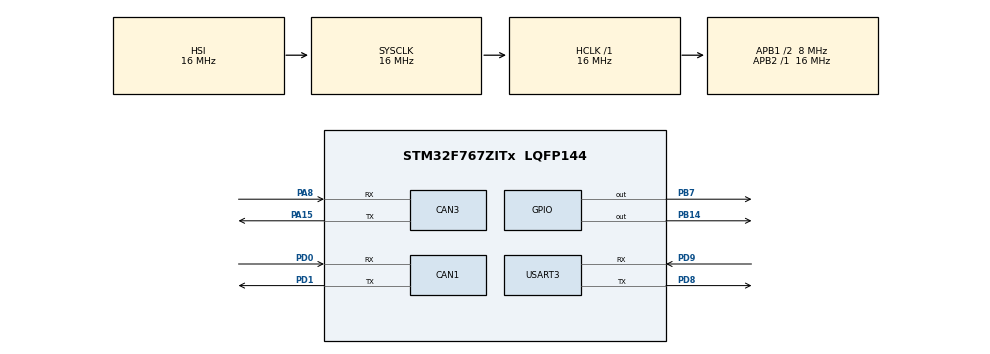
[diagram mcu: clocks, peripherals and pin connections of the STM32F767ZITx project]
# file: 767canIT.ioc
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CAN1.BS1=CAN_BS1_3TQ
CAN1.BS2=CAN_BS2_5TQ
CAN1.CalculateTimeBit=18000
CAN1.CalculateTimeQuantum=2000.0
CAN3.BS1=CAN_BS1_3TQ
CAN3.BS2=CAN_BS2_5TQ
CAN3.CalculateTimeBit=18000
CAN3.CalculateTimeQuantum=2000.0
Mcu.Family=STM32F7
Mcu.Name=STM32F767ZITx
Mcu.Package=LQFP144
NVIC.CAN1_RX0_IRQn=true\:0\:0\:false\:false\:true\:true
NVIC.CAN3_RX0_IRQn=true\:0\:0\:false\:false\:true\:true
NVIC.CAN3_RX1_IRQn=true\:0\:0\:false\:false\:true\:true
NVIC.PriorityGroup=NVIC_PRIORITYGROUP_4
PA15.Mode=Master
PA15.Signal=CAN3_TX
PA8.Mode=Master
PA8.Signal=CAN3_RX
PB14.Signal=GPIO_Output
PB7.Signal=GPIO_Output
PD0.Mode=Master
PD0.Signal=CAN1_RX
PD1.Mode=Master
PD1.Signal=CAN1_TX
PD8.Mode=Asynchronous
PD8.Signal=USART3_TX
PD9.Mode=Asynchronous
PD9.Signal=USART3_RX
ProjectManager.HeapSize=0x200
ProjectManager.StackSize=0x400
ProjectManager.TargetToolchain=SW4STM32
RCC.48MHZClocksFreq_Value=24000000
RCC.AHBFreq_Value=16000000
RCC.APB1CLKDivider=RCC_HCLK_DIV2
RCC.APB1Freq_Value=8000000
RCC.APB1TimFreq_Value=16000000
RCC.APB2Freq_Value=16000000
RCC.APB2TimFreq_Value=16000000
RCC.CortexFreq_Value=16000000
RCC.HCLKFreq_Value=16000000
RCC.HSE_VALUE=16000000
RCC.HSI_VALUE=16000000
RCC.LSE_VALUE=32768
RCC.PLLMUL=RCC_PLL_MUL9
RCC.PRESCALERUSB=RCC_USBCLKSOURCE_PLL_DIV1_5
RCC.SYSCLKFreq_VALUE=16000000
RCC.SYSCLKSourceVirtual=RCC_SYSCLKSOURCE_PLLCLK
RCC.USBFreq_Value=96000000
RCC.VCOOutputFreq_Value=192000000
USART3.VirtualMode-Asynchronous=VM_ASYNC
board=NUCLEO-F767ZI

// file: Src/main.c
/**
  ******************************************************************************
  * File Name          : main.c
  * Description        : Main program body
  ******************************************************************************
  ** This notice applies to any and all portions of this file
  * that are not between comment pairs USER CODE BEGIN and
  * USER CODE END. Other portions of this file, whether
  * inserted by the user or by software development tools
  * are owned by their respective copyright owners.
  *
  * COPYRIGHT(c) 2017 STMicroelectronics
  *
  * Redistribution and use in source and binary forms, with or without modification,
  * are permitted provided that the following conditions are met:
  *   1. Redistributions of source code must retain the above copyright notice,
  *      this list of conditions and the following disclaimer.
  *   2. Redistributions in binary form must reproduce the above copyright notice,
  *      this list of conditions and the following disclaimer in the documentation
  *      and/or other materials provided with the distribution.
  *   3. Neither the name of STMicroelectronics nor the names of its contributors
  *      may be used to endorse or promote products derived from this software
  *      without specific prior written permission.
  *
  * THIS SOFTWARE IS PROVIDED BY THE COPYRIGHT HOLDERS AND CONTRIBUTORS "AS IS"
  * AND ANY EXPRESS OR IMPLIED WARRANTIES, INCLUDING, BUT NOT LIMITED TO, THE
  * IMPLIED WARRANTIES OF MERCHANTABILITY AND FITNESS FOR A PARTICULAR PURPOSE ARE
  * DISCLAIMED. IN NO EVENT SHALL THE COPYRIGHT HOLDER OR CONTRIBUTORS BE LIABLE
  * FOR ANY DIRECT, INDIRECT, INCIDENTAL, SPECIAL, EXEMPLARY, OR CONSEQUENTIAL
  * DAMAGES (INCLUDING, BUT NOT LIMITED TO, PROCUREMENT OF SUBSTITUTE GOODS OR
  * SERVICES; LOSS OF USE, DATA, OR PROFITS; OR BUSINESS INTERRUPTION) HOWEVER
  * CAUSED AND ON ANY THEORY OF LIABILITY, WHETHER IN CONTRACT, STRICT LIABILITY,
  * OR TORT (INCLUDING NEGLIGENCE OR OTHERWISE) ARISING IN ANY WAY OUT OF THE USE
  * OF THIS SOFTWARE, EVEN IF ADVISED OF THE POSSIBILITY OF SUCH DAMAGE.
  *
  ******************************************************************************
  */

#include "main.h"
#include "stm32f7xx_hal.h"

CAN_HandleTypeDef hcan1;
CAN_HandleTypeDef hcan3;

UART_HandleTypeDef huart3;

/* USER CODE BEGIN PV */
/* Private variables ---------------------------------------------------------*/
unsigned char i,j,k,RxData,tab[60];
CanRxMsgTypeDef            RxMCan1;
CanRxMsgTypeDef            RxMCan3;
CanTxMsgTypeDef            TxMCan1;
CanTxMsgTypeDef            TxMCan3;

/* USER CODE END PV */

void SystemClock_Config(void);
static void MX_GPIO_Init(void);
static void MX_CAN1_Init(void);
static void MX_CAN3_Init(void);
static void MX_USART3_UART_Init(void);

/* USER CODE BEGIN PFP */
/* Private function prototypes -----------------------------------------------*/

/* USER CODE END PFP */

int main(void)
{

  /* MCU Configuration----------------------------------------------------------*/

  /* Reset of all peripherals, Initializes the Flash interface and the Systick. */
  HAL_Init();

  /* Configure the system clock */
  SystemClock_Config();

  /* Initialize all configured peripherals */
  MX_GPIO_Init();
  MX_CAN1_Init();
  MX_CAN3_Init();
  MX_USART3_UART_Init();

  /* USER CODE BEGIN 2 */

  CAN_FilterConfTypeDef  sFilterConfig;

  // Configure the CAN Filter ###########################################
  sFilterConfig.FilterNumber = 0;
  sFilterConfig.FilterMode = CAN_FILTERMODE_IDMASK;
  sFilterConfig.FilterScale = CAN_FILTERSCALE_32BIT;
  sFilterConfig.FilterIdHigh = 0x0000;
  sFilterConfig.FilterIdLow = 0x0000;
  sFilterConfig.FilterMaskIdHigh = 0x0000;
  sFilterConfig.FilterMaskIdLow = 0x0000;
  sFilterConfig.FilterFIFOAssignment = 0;
  sFilterConfig.FilterActivation = ENABLE;
  sFilterConfig.BankNumber = 14;

  HAL_CAN_ConfigFilter(&hcan1,&sFilterConfig);
  HAL_CAN_ConfigFilter(&hcan3,&sFilterConfig);

  hcan1.pRxMsg=&RxMCan1;
  hcan1.pTxMsg=&TxMCan1;

  hcan3.pRxMsg=&RxMCan3;
  hcan3.pTxMsg=&TxMCan3;

  HAL_CAN_Init(&hcan1);
  HAL_CAN_Init(&hcan3);

  HAL_CAN_Receive_IT(&hcan3,CAN_FIFO0);
  HAL_CAN_Receive_IT(&hcan3,CAN_FIFO1);

  /* USER CODE END 2 */

  /* Infinite loop */
  /* USER CODE BEGIN WHILE */
  while (1)
  {

	  // Send process
	  hcan1.pTxMsg->StdId = 0x11;
	  hcan1.pTxMsg->RTR = CAN_RTR_DATA;
	  hcan1.pTxMsg->IDE = CAN_ID_STD;
	  hcan1.pTxMsg->DLC = 1;
	  hcan1.pTxMsg->Data[0] = i;

	  if(HAL_CAN_Transmit(&hcan1, 10) == HAL_OK)
	  {
		  j=sprintf(tab,"CAN 1 send %5i\n",i++);
		  if(HAL_UART_Transmit(&huart3, (uint8_t *)&tab,j,5000)!= HAL_OK) Error_Handler();
		 // HAL_GPIO_TogglePin(GPIOB, GPIO_PIN_14); //red
	  }
	  else
	  {
			  j=sprintf(tab,"!!! CAN 1 Not send !!!\n"); if(HAL_UART_Transmit(&huart3, (uint8_t *)&tab,j,5000)!= HAL_OK) Error_Handler();
	  };

	  HAL_GPIO_TogglePin(GPIOB,GPIO_PIN_7);
	  HAL_Delay(20);
  /* USER CODE END WHILE */

  }

}

/** System Clock Configuration
*/
void SystemClock_Config(void)
{

  RCC_OscInitTypeDef RCC_OscInitStruct;
  RCC_ClkInitTypeDef RCC_ClkInitStruct;
  RCC_PeriphCLKInitTypeDef PeriphClkInitStruct;

    /**Configure the main internal regulator output voltage
    */
  __HAL_RCC_PWR_CLK_ENABLE();

  __HAL_PWR_VOLTAGESCALING_CONFIG(PWR_REGULATOR_VOLTAGE_SCALE3);

    /**Initializes the CPU, AHB and APB busses clocks
    */
  RCC_OscInitStruct.OscillatorType = RCC_OSCILLATORTYPE_HSI;
  RCC_OscInitStruct.HSIState = RCC_HSI_ON;
  RCC_OscInitStruct.HSICalibrationValue = 16;
  RCC_OscInitStruct.PLL.PLLState = RCC_PLL_NONE;
  if (HAL_RCC_OscConfig(&RCC_OscInitStruct) != HAL_OK)
  {
    _Error_Handler(__FILE__, __LINE__);
  }

    /**Initializes the CPU, AHB and APB busses clocks
    */
  RCC_ClkInitStruct.ClockType = RCC_CLOCKTYPE_HCLK|RCC_CLOCKTYPE_SYSCLK
                              |RCC_CLOCKTYPE_PCLK1|RCC_CLOCKTYPE_PCLK2;
  RCC_ClkInitStruct.SYSCLKSource = RCC_SYSCLKSOURCE_HSI;
  RCC_ClkInitStruct.AHBCLKDivider = RCC_SYSCLK_DIV1;
  RCC_ClkInitStruct.APB1CLKDivider = RCC_HCLK_DIV2;
  RCC_ClkInitStruct.APB2CLKDivider = RCC_HCLK_DIV1;

  if (HAL_RCC_ClockConfig(&RCC_ClkInitStruct, FLASH_LATENCY_0) != HAL_OK)
  {
    _Error_Handler(__FILE__, __LINE__);
  }

  PeriphClkInitStruct.PeriphClockSelection = RCC_PERIPHCLK_USART3;
  PeriphClkInitStruct.Usart3ClockSelection = RCC_USART3CLKSOURCE_PCLK1;
  if (HAL_RCCEx_PeriphCLKConfig(&PeriphClkInitStruct) != HAL_OK)
  {
    _Error_Handler(__FILE__, __LINE__);
  }

    /**Configure the Systick interrupt time
    */
  HAL_SYSTICK_Config(HAL_RCC_GetHCLKFreq()/1000);

    /**Configure the Systick
    */
  HAL_SYSTICK_CLKSourceConfig(SYSTICK_CLKSOURCE_HCLK);

  /* SysTick_IRQn interrupt configuration */
  HAL_NVIC_SetPriority(SysTick_IRQn, 0, 0);
}

/* CAN1 init function */
static void MX_CAN1_Init(void)
{

  hcan1.Instance = CAN1;
  hcan1.Init.Prescaler = 16;
  hcan1.Init.Mode = CAN_MODE_NORMAL;
  hcan1.Init.SJW = CAN_SJW_1TQ;
  hcan1.Init.BS1 = CAN_BS1_3TQ;
  hcan1.Init.BS2 = CAN_BS2_5TQ;
  hcan1.Init.TTCM = DISABLE;
  hcan1.Init.ABOM = DISABLE;
  hcan1.Init.AWUM = DISABLE;
  hcan1.Init.NART = DISABLE;
  hcan1.Init.RFLM = DISABLE;
  hcan1.Init.TXFP = DISABLE;
  if (HAL_CAN_Init(&hcan1) != HAL_OK)
  {
    _Error_Handler(__FILE__, __LINE__);
  }

}

/* CAN3 init function */
static void MX_CAN3_Init(void)
{

  hcan3.Instance = CAN3;
  hcan3.Init.Prescaler = 16;
  hcan3.Init.Mode = CAN_MODE_NORMAL;
  hcan3.Init.SJW = CAN_SJW_1TQ;
  hcan3.Init.BS1 = CAN_BS1_3TQ;
  hcan3.Init.BS2 = CAN_BS2_5TQ;
  hcan3.Init.TTCM = DISABLE;
  hcan3.Init.ABOM = DISABLE;
  hcan3.Init.AWUM = DISABLE;
  hcan3.Init.NART = DISABLE;
  hcan3.Init.RFLM = DISABLE;
  hcan3.Init.TXFP = DISABLE;
  if (HAL_CAN_Init(&hcan3) != HAL_OK)
  {
    _Error_Handler(__FILE__, __LINE__);
  }

}

/* USART3 init function */
static void MX_USART3_UART_Init(void)
{

  huart3.Instance = USART3;
  huart3.Init.BaudRate = 115200;
  huart3.Init.WordLength = UART_WORDLENGTH_8B;
  huart3.Init.StopBits = UART_STOPBITS_1;
  huart3.Init.Parity = UART_PARITY_NONE;
  huart3.Init.Mode = UART_MODE_TX_RX;
  huart3.Init.HwFlowCtl = UART_HWCONTROL_NONE;
  huart3.Init.OverSampling = UART_OVERSAMPLING_16;
  huart3.Init.OneBitSampling = UART_ONE_BIT_SAMPLE_DISABLE;
  huart3.AdvancedInit.AdvFeatureInit = UART_ADVFEATURE_NO_INIT;
  if (HAL_UART_Init(&huart3) != HAL_OK)
  {
    _Error_Handler(__FILE__, __LINE__);
  }

}

/** Configure pins as
        * Analog
        * Input
        * Output
        * EVENT_OUT
        * EXTI
*/
static void MX_GPIO_Init(void)
{

  GPIO_InitTypeDef GPIO_InitStruct;

  /* GPIO Ports Clock Enable */
  __HAL_RCC_GPIOB_CLK_ENABLE();
  __HAL_RCC_GPIOD_CLK_ENABLE();
  __HAL_RCC_GPIOA_CLK_ENABLE();

  /*Configure GPIO pin Output Level */
  HAL_GPIO_WritePin(GPIOB, GPIO_PIN_14|GPIO_PIN_7, GPIO_PIN_RESET);

  /*Configure GPIO pins : PB14 PB7 */
  GPIO_InitStruct.Pin = GPIO_PIN_14|GPIO_PIN_7;
  GPIO_InitStruct.Mode = GPIO_MODE_OUTPUT_PP;
  GPIO_InitStruct.Pull = GPIO_NOPULL;
  GPIO_InitStruct.Speed = GPIO_SPEED_FREQ_LOW;
  HAL_GPIO_Init(GPIOB, &GPIO_InitStruct);

}

void _Error_Handler(char * file, int line)
{
  while(1)
  {
  }
}

/************************ (C) COPYRIGHT STMicroelectronics *****END OF FILE****/
